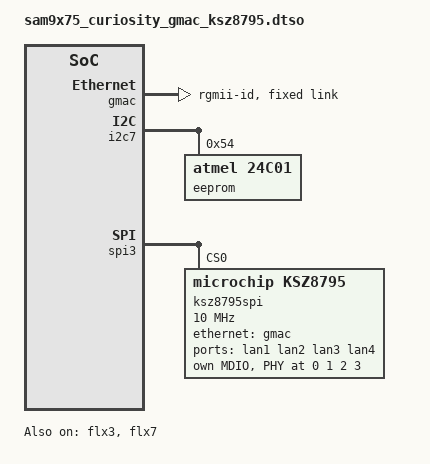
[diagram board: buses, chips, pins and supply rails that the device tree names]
// SPDX-License-Identifier: (GPL-2.0+ OR MIT)
/*
 * Device Tree file for SAM9X75 CURIOSITY board overlay blob supporting the
 * KSZ8795 5-port 10/100 switch Daughter Card using SPI and RGMII.
 *
 * Copyright (C) 2025 Microchip Technology Inc. and its subsidiaries
 *
 * Author: Jerry Ray <jerry.ray@microchip.com>
 *
 * Refer to the EV40P40A (KSZ8795-EDS2 daughter card)
 *
 */
/dts-v1/;
/plugin/;

#include <dt-bindings/gpio/gpio.h>
#include <dt-bindings/interrupt-controller/irq.h>
#include <dt-bindings/mfd/atmel-flexcom.h>
#include <dt-bindings/pinctrl/at91.h>

&flx3 {
	atmel,flexcom-mode = <ATMEL_FLEXCOM_MODE_SPI>;
	status = "okay";
};

&flx7 {
	atmel,flexcom-mode = <ATMEL_FLEXCOM_MODE_TWI>;
	status = "okay";
};

&gmac {
	phy-mode = "rgmii-id";
	pinctrl-names = "default";
	pinctrl-0 = <&pinctrl_gmac_rgmii_default>;
	magic-packet;
	status = "okay";

	fixed-link {
		speed = <1000>;
		full-duplex;
	};
};

&i2c7 {
	#address-cells = <1>;
	#size-cells = <0>;
	pinctrl-names = "default";
	pinctrl-0 = <&pinctrl_flx7_twi_default>;
	i2c-analog-filter;
	i2c-digital-filter;
	i2c-digital-filter-width-ns = <35>;
	dmas = <0>, <0>;
	status = "okay";

        eeprom@54 {
                compatible = "atmel,24c01";
                reg = <0x54>;
                pagesize = <8>;
                status = "okay";
        };
};

&pinctrl {
	flexcom {
		pinctrl_flx3_default: flx3-spi-default {
			atmel,pins =
				<AT91_PIOC 22 AT91_PERIPH_B AT91_PINCTRL_NONE
				 AT91_PIOC 23 AT91_PERIPH_B AT91_PINCTRL_NONE
				 AT91_PIOC 25 AT91_PERIPH_B AT91_PINCTRL_NONE
				 AT91_PIOC 26 AT91_PERIPH_B AT91_PINCTRL_NONE>;
		};

		pinctrl_flx7_twi_default: flx7-twi-default {
			atmel,pins =
				<AT91_PIOC 0 AT91_PERIPH_C AT91_PINCTRL_NONE
				 AT91_PIOC 1 AT91_PERIPH_C AT91_PINCTRL_NONE>;
		};
	};

	gmac-pins {
		pinctrl_gmac_rgmii_default: gmac-rgmii-default {
			atmel,pins =
				<AT91_PIOB 13 AT91_PERIPH_A  AT91_PINCTRL_SLEWRATE_DIS				/* ETH_TX0   */
				 AT91_PIOB 14 AT91_PERIPH_A  AT91_PINCTRL_SLEWRATE_DIS				/* ETH_TX1   */
				 AT91_PIOB 4  AT91_PERIPH_A  AT91_PINCTRL_SLEWRATE_DIS				/* ETH_TX2   */
				 AT91_PIOB 5  AT91_PERIPH_A  AT91_PINCTRL_SLEWRATE_DIS				/* ETH_TX3   */
				 AT91_PIOB 7  AT91_PERIPH_A  AT91_PINCTRL_SLEWRATE_DIS				/* ETH_TXCTL  */
				 AT91_PIOB 6  AT91_PERIPH_A (AT91_PINCTRL_PULL_UP | AT91_PINCTRL_SLEWRATE_DIS)	/* ETH_TXCK  */
				 AT91_PIOB 11 AT91_PERIPH_A  AT91_PINCTRL_SLEWRATE_DIS				/* ETH_RX0   */
				 AT91_PIOB 12 AT91_PERIPH_A  AT91_PINCTRL_SLEWRATE_DIS				/* ETH_RX1   */
				 AT91_PIOB 0  AT91_PERIPH_A  AT91_PINCTRL_SLEWRATE_DIS				/* ETH_RX2   */
				 AT91_PIOB 1  AT91_PERIPH_A  AT91_PINCTRL_SLEWRATE_DIS				/* ETH_RX3   */
				 AT91_PIOB 8  AT91_PERIPH_A  AT91_PINCTRL_SLEWRATE_DIS				/* ETH_RXCK   */
				 AT91_PIOB 3  AT91_PERIPH_A  AT91_PINCTRL_SLEWRATE_DIS				/* ETH_RXCTL */
				 AT91_PIOB 10 AT91_PERIPH_A  AT91_PINCTRL_NONE					/* ETH_MDC   */
				 AT91_PIOB 9  AT91_PERIPH_A  AT91_PINCTRL_NONE					/* ETH_MDIO  */
				 AT91_PIOB 2  AT91_PERIPH_A  AT91_PINCTRL_DIS_SCHMIT				/* ETH_125CK */
				 AT91_PIOD 5  AT91_PERIPH_GPIO  AT91_PINCTRL_NONE>;				/* ETH_INT   */
		};
	};
};

&spi3 {
	#address-cells = <1>;
	#size-cells = <0>;
	pinctrl-names = "default";
	pinctrl-0 = <&pinctrl_flx3_default>;
	dmas = <0>, <0>;
	status = "okay";

	ksz8795spi: ksz8795-switch@0 {
		compatible = "microchip,ksz8795";
		reg = <0>;
		spi-max-frequency = <10000000>;

		spi-cpha;
		spi-cpol;
		status = "okay";

		ports {
			#address-cells = <1>;
			#size-cells = <0>;
			port@0 {
				reg = <0>;
				label = "lan1";
				phy-handle = <&swphy0>;
			};
			port@1 {
				reg = <1>;
				label = "lan2";
				phy-handle = <&swphy1>;
			};
			port@2 {
				reg = <2>;
				label = "lan3";
				phy-handle = <&swphy2>;
			};
			port@3 {
				reg = <3>;
				label = "lan4";
				phy-handle = <&swphy3>;
			};
			port@4 {
				reg = <4>;
				phy-mode = "rgmii-id";
				rx-internal-delay-ps = <2000>;
				tx-internal-delay-ps = <2000>;
				ethernet = <&gmac>;
				fixed-link {
					speed = <1000>;
					full-duplex;
				};
			};
		};
		mdio {
			#address-cells = <1>;
			#size-cells = <0>;
			swphy0: ethernet-phy@0 {
				reg = <0>;
			};
			swphy1: ethernet-phy@1 {
				reg = <1>;
			};
			swphy2: ethernet-phy@2 {
				reg = <2>;
			};
			swphy3: ethernet-phy@3 {
				reg = <3>;
			};
		};
	};
};

&{/} {
	model = "SAM9X75-Curiosity: KSZ8795 RGMII PHY Daughter Card";
};
